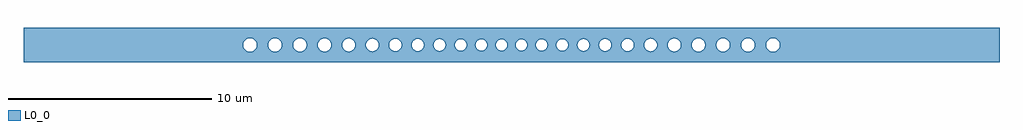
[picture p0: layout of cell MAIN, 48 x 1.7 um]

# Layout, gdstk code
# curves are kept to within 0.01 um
import gdstk
lib = gdstk.Library(unit=1e-6, precision=1e-09)
def P(c, l, *ps):  # polygons
    for p in ps: c.add(gdstk.Polygon(p, *l))
L0_0 = (0, 0)

main = lib.new_cell('MAIN')
P(main, L0_0, [(-12.892,-0.85),(-12.892,-0.341),(-13.012,-0.308),(-13.109,-0.237),(-13.173,-0.142),(-13.203,-0.021),(-13.183,0.118),(-13.116,0.229),(-13.012,0.308),(-12.892,0.341),(-12.892,0.85),(-24,0.85),(-24,-0.85)],
  [(-12.882,0.342),(-12.763,0.329),(-12.639,0.262),(-12.56,0.165),(-12.523,0.057),(-12.523,0.85),(-12.892,0.85),(-12.892,0.341)],
  [(-12.523,-0.057),(-12.56,-0.165),(-12.639,-0.262),(-12.763,-0.329),(-12.892,-0.341),(-12.892,-0.85),(-12.523,-0.85)],
  [(-12.518,-0.01),(-12.523,-0.85),(-11.724,-0.85),(-11.724,-0.329),(-11.814,-0.289),(-11.896,-0.217),(-11.956,-0.108),(-11.973,-0.016),(-11.956,0.108),(-11.896,0.217),(-11.814,0.289),(-11.724,0.329),(-11.724,0.85),(-12.523,0.85)],
  [(-11.714,0.332),(-11.595,0.34),(-11.48,0.307),(-11.37,0.221),(-11.31,0.117),(-11.31,0.85),(-11.724,0.85),(-11.724,0.329)],
  [(-11.31,-0.117),(-11.37,-0.221),(-11.48,-0.307),(-11.605,-0.341),(-11.724,-0.329),(-11.724,-0.85),(-11.31,-0.85)],
  [(-10.745,0.005),(-10.73,0.102),(-10.687,0.191),(-10.624,0.26),(-10.55,0.307),(-10.55,0.85),(-11.31,0.85),(-11.31,0.117),(-11.29,0)],
  [(-10.541,0.311),(-10.415,0.339),(-10.307,0.324),(-10.189,0.26),(-10.113,0.169),(-10.113,0.85),(-10.55,0.85)],
  [(-10.113,-0.169),(-10.189,-0.26),(-10.307,-0.324),(-10.43,-0.338),(-10.55,-0.307),(-10.55,-0.85),(-10.113,-0.85)],
  [(24,0.85),(13.112,0.85),(13.112,0.233),(13.173,0.142),(13.203,0.021),(13.183,-0.118),(13.112,-0.233),(13.112,-0.85),(24,-0.85)],
  [(-9.378,0.28),(-9.244,0.331),(-9.131,0.328),(-9.012,0.279),(-8.933,0.206),(-8.933,0.85),(-9.386,0.85)],
  [(-8.933,-0.206),(-9.03,-0.29),(-9.156,-0.332),(-9.279,-0.324),(-9.386,-0.275),(-9.386,-0.85),(-8.933,-0.85)],
  [(-8.862,-0.01),(-8.881,-0.111),(-8.933,-0.206),(-8.933,-0.85),(-8.231,-0.85),(-8.231,-0.24),(-8.301,-0.146),(-8.335,-0.013),(-8.313,0.118),(-8.231,0.24),(-8.231,0.85),(-8.933,0.85),(-8.933,0.206),(-8.881,0.111)],
  [(-8.223,0.246),(-8.118,0.309),(-7.987,0.328),(-7.864,0.296),(-7.777,0.234),(-7.777,0.85),(-8.231,0.85)],
  [(-7.777,-0.234),(-7.864,-0.296),(-7.987,-0.328),(-8.118,-0.309),(-8.231,-0.24),(-8.231,-0.85),(-7.777,-0.85)],
  [(-9.53,0.003),(-9.492,0.156),(-9.386,0.275),(-9.386,0.85),(-10.113,0.85),(-10.113,0.169),(-10.078,0.082),(-10.068,0)],
  [(-7.082,0.215),(-6.991,0.286),(-6.865,0.321),(-6.74,0.305),(-6.643,0.251),(-6.643,0.85),(-7.086,0.85)],
  [(-6.643,-0.251),(-6.74,-0.305),(-6.865,-0.321),(-6.991,-0.286),(-7.086,-0.211),(-7.086,-0.85),(-6.643,-0.85)],
  [(-7.165,0.003),(-7.147,0.107),(-7.086,0.211),(-7.086,0.85),(-7.777,0.85),(-7.777,0.234),(-7.703,0.125),(-7.679,0)],
  [(-5.961,0.189),(-5.869,0.272),(-5.766,0.31),(-5.632,0.305),(-5.528,0.257),(-5.528,0.85),(-5.964,0.85)],
  [(-5.528,-0.257),(-5.632,-0.305),(-5.766,-0.31),(-5.869,-0.272),(-5.964,-0.185),(-5.964,-0.85),(-5.528,-0.85)],
  [(-5.395,-0.01),(-5.43,-0.144),(-5.528,-0.257),(-5.528,-0.85),(-4.867,-0.85),(-4.867,-0.166),(-4.901,-0.095),(-4.916,-0.002),(-4.901,0.095),(-4.867,0.166),(-4.867,0.85),(-5.528,0.85),(-5.528,0.257),(-5.469,0.203),(-5.426,0.136)],
  [(-4.864,0.17),(-4.773,0.26),(-4.678,0.3),(-4.565,0.305),(-4.441,0.258),(-4.441,0.85),(-4.867,0.85)],
  [(-4.441,-0.258),(-4.565,-0.305),(-4.678,-0.3),(-4.773,-0.26),(-4.867,-0.166),(-4.867,-0.85),(-4.441,-0.85)],
  [(-6.024,0.002),(-6.008,0.101),(-5.964,0.185),(-5.964,0.85),(-6.643,0.85),(-6.643,0.251),(-6.55,0.133),(-6.522,0)],
  [(-3.788,0.166),(-3.71,0.247),(-3.594,0.296),(-3.486,0.297),(-3.373,0.252),(-3.373,0.85),(-3.791,0.85)],
  [(-3.373,-0.252),(-3.486,-0.297),(-3.608,-0.293),(-3.71,-0.247),(-3.791,-0.162),(-3.791,-0.85),(-3.373,-0.85)],
  [(-3.839,0.005),(-3.826,0.087),(-3.791,0.162),(-3.791,0.85),(-4.441,0.85),(-4.441,0.258),(-4.377,0.204),(-4.335,0.143),(-4.3,0)],
  [(-2.741,0.166),(-2.667,0.242),(-2.542,0.292),(-2.426,0.287),(-2.326,0.24),(-2.326,0.85),(-2.744,0.85)],
  [(-2.326,-0.24),(-2.426,-0.287),(-2.542,-0.292),(-2.667,-0.242),(-2.744,-0.162),(-2.744,-0.85),(-2.326,-0.85)],
  [(-2.202,-0.01),(-2.239,-0.144),(-2.326,-0.24),(-2.326,-0.85),(-1.718,-0.85),(-1.718,-0.171),(-1.753,-0.108),(-1.773,-0.019),(-1.761,0.085),(-1.718,0.171),(-1.718,0.85),(-2.326,0.85),(-2.326,0.24),(-2.269,0.188),(-2.228,0.122)],
  [(-1.715,0.175),(-1.63,0.251),(-1.516,0.289),(-1.398,0.278),(-1.301,0.226),(-1.301,0.85),(-1.718,0.85)],
  [(-1.301,-0.226),(-1.398,-0.278),(-1.516,-0.289),(-1.63,-0.251),(-1.718,-0.171),(-1.718,-0.85),(-1.301,-0.85)],
  [(-2.792,0.002),(-2.782,0.079),(-2.744,0.162),(-2.744,0.85),(-3.373,0.85),(-3.373,0.252),(-3.274,0.146),(-3.237,0)],
  [(-0.704,0.192),(-0.617,0.258),(-0.511,0.287),(-0.385,0.268),(-0.292,0.209),(-0.292,0.85),(-0.707,0.85)],
  [(-0.292,-0.209),(-0.385,-0.268),(-0.511,-0.287),(-0.625,-0.254),(-0.707,-0.188),(-0.707,-0.85),(-0.292,-0.85)],
  [(-0.777,0.005),(-0.755,0.112),(-0.707,0.188),(-0.707,0.85),(-1.301,0.85),(-1.301,0.226),(-1.223,0.13),(-1.192,0)],
  [(0.296,0.212),(0.385,0.268),(0.511,0.287),(0.625,0.254),(0.707,0.188),(0.707,0.85),(0.289,0.85)],
  [(0.707,-0.188),(0.625,-0.254),(0.511,-0.287),(0.385,-0.268),(0.289,-0.206),(0.289,-0.85),(0.707,-0.85)],
  [(0.777,-0.01),(0.755,-0.112),(0.707,-0.188),(0.707,-0.85),(1.297,-0.85),(1.297,-0.223),(1.223,-0.13),(1.192,-0.005),(1.217,0.117),(1.297,0.223),(1.297,0.85),(0.707,0.85),(0.707,0.188),(0.76,0.098)],
  [(1.305,0.229),(1.412,0.282),(1.516,0.289),(1.63,0.251),(1.715,0.175),(1.715,0.85),(1.297,0.85)],
  [(1.715,-0.175),(1.63,-0.251),(1.516,-0.289),(1.398,-0.278),(1.297,-0.223),(1.297,-0.85),(1.715,-0.85)],
  [(0.202,0.005),(0.221,0.103),(0.289,0.206),(0.289,0.85),(-0.292,0.85),(-0.292,0.209),(-0.221,0.103),(-0.202,0)],
  [(2.332,0.244),(2.419,0.285),(2.549,0.291),(2.661,0.246),(2.74,0.168),(2.74,0.85),(2.324,0.85)],
  [(2.74,-0.168),(2.661,-0.246),(2.549,-0.291),(2.419,-0.285),(2.324,-0.239),(2.324,-0.85),(2.74,-0.85)],
  [(2.202,0.002),(2.238,0.142),(2.324,0.239),(2.324,0.85),(1.715,0.85),(1.715,0.175),(1.761,0.085),(1.773,0)],
  [(3.377,0.255),(3.486,0.297),(3.608,0.293),(3.71,0.247),(3.791,0.162),(3.791,0.85),(3.369,0.85)],
  [(3.791,-0.162),(3.71,-0.247),(3.594,-0.296),(3.486,-0.297),(3.369,-0.249),(3.369,-0.85),(3.791,-0.85)],
  [(3.838,-0.01),(3.826,-0.087),(3.791,-0.162),(3.791,-0.85),(4.435,-0.85),(4.435,-0.254),(4.341,-0.153),(4.3,-0.007),(4.334,0.14),(4.435,0.254),(4.435,0.85),(3.791,0.85),(3.791,0.162),(3.83,0.073)],
  [(4.443,0.26),(4.553,0.303),(4.671,0.301),(4.783,0.253),(4.863,0.172),(4.863,0.85),(4.435,0.85)],
  [(4.863,-0.172),(4.771,-0.261),(4.651,-0.305),(4.538,-0.3),(4.435,-0.254),(4.435,-0.85),(4.863,-0.85)],
  [(3.237,0.005),(3.274,0.146),(3.369,0.249),(3.369,0.85),(2.74,0.85),(2.74,0.168),(2.78,0.086),(2.792,0)],
  [(5.534,0.261),(5.639,0.307),(5.754,0.312),(5.858,0.278),(5.96,0.191),(5.96,0.85),(5.526,0.85)],
  [(5.96,-0.191),(5.858,-0.278),(5.754,-0.312),(5.639,-0.307),(5.526,-0.255),(5.526,-0.85),(5.96,-0.85)],
  [(5.395,0.002),(5.429,0.142),(5.526,0.255),(5.526,0.85),(4.863,0.85),(4.863,0.172),(4.903,0.088),(4.916,0)],
  [(6.645,0.253),(6.747,0.307),(6.867,0.321),(6.989,0.287),(7.084,0.213),(7.084,0.85),(6.637,0.85)],
  [(7.084,-0.213),(6.989,-0.287),(6.867,-0.321),(6.747,-0.307),(6.637,-0.247),(6.637,-0.85),(7.084,-0.85)],
  [(7.165,-0.01),(7.146,-0.109),(7.084,-0.213),(7.084,-0.85),(7.771,-0.85),(7.771,-0.229),(7.71,-0.141),(7.679,-0.023),(7.698,0.113),(7.771,0.229),(7.771,0.85),(7.084,0.85),(7.084,0.213),(7.146,0.109)],
  [(7.775,0.232),(7.862,0.295),(7.99,0.328),(8.121,0.308),(8.225,0.245),(8.225,0.85),(7.771,0.85)],
  [(8.225,-0.245),(8.121,-0.308),(7.99,-0.328),(7.862,-0.295),(7.771,-0.229),(7.771,-0.85),(8.225,-0.85)],
  [(6.522,0.003),(6.551,0.135),(6.637,0.247),(6.637,0.85),(5.96,0.85),(5.96,0.191),(6.004,0.113),(6.024,0)],
  [(8.935,0.208),(9.023,0.286),(9.149,0.331),(9.262,0.328),(9.38,0.279),(9.38,0.85),(8.932,0.85)],
  [(9.38,-0.279),(9.262,-0.328),(9.149,-0.331),(9.023,-0.286),(8.932,-0.204),(8.932,-0.85),(9.38,-0.85)],
  [(8.862,0.003),(8.882,0.114),(8.932,0.204),(8.932,0.85),(8.225,0.85),(8.225,0.245),(8.3,0.148),(8.335,0)],
  [(10.113,0.169),(10.189,0.26),(10.307,0.324),(10.43,0.338),(10.55,0.307),(10.55,0.85),(10.111,0.85)],
  [(10.55,-0.307),(10.43,-0.338),(10.307,-0.324),(10.189,-0.26),(10.111,-0.164),(10.111,-0.85),(10.55,-0.85)],
  [(10.745,-0.01),(10.73,-0.102),(10.687,-0.191),(10.624,-0.26),(10.55,-0.307),(10.55,-0.85),(11.309,-0.85),(11.309,-0.112),(11.29,-0.021),(11.309,0.112),(11.309,0.85),(10.55,0.85),(10.55,0.307),(10.624,0.26),(10.687,0.191),(10.733,0.092)],
  [(11.31,0.117),(11.37,0.221),(11.48,0.307),(11.605,0.341),(11.719,0.33),(11.719,0.85),(11.309,0.85)],
  [(11.719,-0.33),(11.605,-0.341),(11.48,-0.307),(11.37,-0.221),(11.309,-0.112),(11.309,-0.85),(11.719,-0.85)],
  [(10.068,0.005),(10.082,0.097),(10.111,0.164),(10.111,0.85),(9.38,0.85),(9.38,0.279),(9.446,0.222),(9.493,0.154),(9.53,0)],
  [(12.524,0.062),(12.568,0.179),(12.639,0.262),(12.763,0.329),(12.887,0.342),(12.887,0.85),(12.523,0.85)],
  [(12.887,-0.342),(12.763,-0.329),(12.639,-0.262),(12.56,-0.165),(12.523,-0.057),(12.523,-0.85),(12.887,-0.85)],
  [(-10.55,-0.307),(-10.624,-0.26),(-10.687,-0.191),(-10.73,-0.102),(-10.745,0),(-11.29,0),(-11.31,-0.117),(-11.31,-0.85),(-10.55,-0.85)],
  [(13.112,0.85),(12.887,0.85),(12.887,0.342),(13.012,0.308),(13.112,0.233)],
  [(13.112,-0.233),(13.012,-0.308),(12.887,-0.342),(12.887,-0.85),(13.112,-0.85)],
  [(-9.386,-0.275),(-9.492,-0.156),(-9.53,0),(-10.068,0),(-10.078,-0.082),(-10.113,-0.169),(-10.113,-0.85),(-9.386,-0.85)],
  [(-7.086,-0.211),(-7.147,-0.107),(-7.165,0),(-7.679,0),(-7.703,-0.125),(-7.777,-0.234),(-7.777,-0.85),(-7.086,-0.85)],
  [(-5.964,-0.185),(-6.008,-0.101),(-6.024,0),(-6.522,0),(-6.55,-0.133),(-6.643,-0.251),(-6.643,-0.85),(-5.964,-0.85)],
  [(-3.791,-0.162),(-3.826,-0.087),(-3.839,0),(-4.3,0),(-4.335,-0.143),(-4.377,-0.204),(-4.441,-0.258),(-4.441,-0.85),(-3.791,-0.85)],
  [(-2.744,-0.162),(-2.782,-0.079),(-2.792,0),(-3.237,0),(-3.274,-0.146),(-3.373,-0.252),(-3.373,-0.85),(-2.744,-0.85)],
  [(-0.707,-0.188),(-0.755,-0.112),(-0.777,0),(-1.192,0),(-1.223,-0.13),(-1.301,-0.226),(-1.301,-0.85),(-0.707,-0.85)],
  [(0.289,-0.206),(0.221,-0.103),(0.202,0),(-0.202,0),(-0.221,-0.103),(-0.292,-0.209),(-0.292,-0.85),(0.289,-0.85)],
  [(2.324,-0.239),(2.238,-0.142),(2.202,0),(1.773,0),(1.761,-0.085),(1.715,-0.175),(1.715,-0.85),(2.324,-0.85)],
  [(3.369,-0.249),(3.274,-0.146),(3.237,0),(2.792,0),(2.78,-0.086),(2.74,-0.168),(2.74,-0.85),(3.369,-0.85)],
  [(5.526,-0.255),(5.429,-0.142),(5.395,0),(4.916,0),(4.903,-0.088),(4.863,-0.172),(4.863,-0.85),(5.526,-0.85)],
  [(6.637,-0.247),(6.551,-0.135),(6.522,0),(6.024,0),(6.004,-0.113),(5.96,-0.191),(5.96,-0.85),(6.637,-0.85)],
  [(8.932,-0.204),(8.882,-0.114),(8.862,0),(8.335,0),(8.3,-0.148),(8.225,-0.245),(8.225,-0.85),(8.932,-0.85)],
  [(10.111,-0.164),(10.078,-0.082),(10.068,0),(9.53,0),(9.493,-0.154),(9.446,-0.222),(9.38,-0.279),(9.38,-0.85),(10.111,-0.85)],
  [(12.523,-0.057),(12.518,0),(11.973,0),(11.956,-0.108),(11.896,-0.217),(11.814,-0.289),(11.719,-0.33),(11.719,-0.85),(12.523,-0.85)],
  [(12.518,0.005),(12.523,0.85),(11.719,0.85),(11.719,0.33),(11.814,0.289),(11.896,0.217),(11.956,0.108),(11.973,0)])

lib.write_gds('MAIN.gds')
